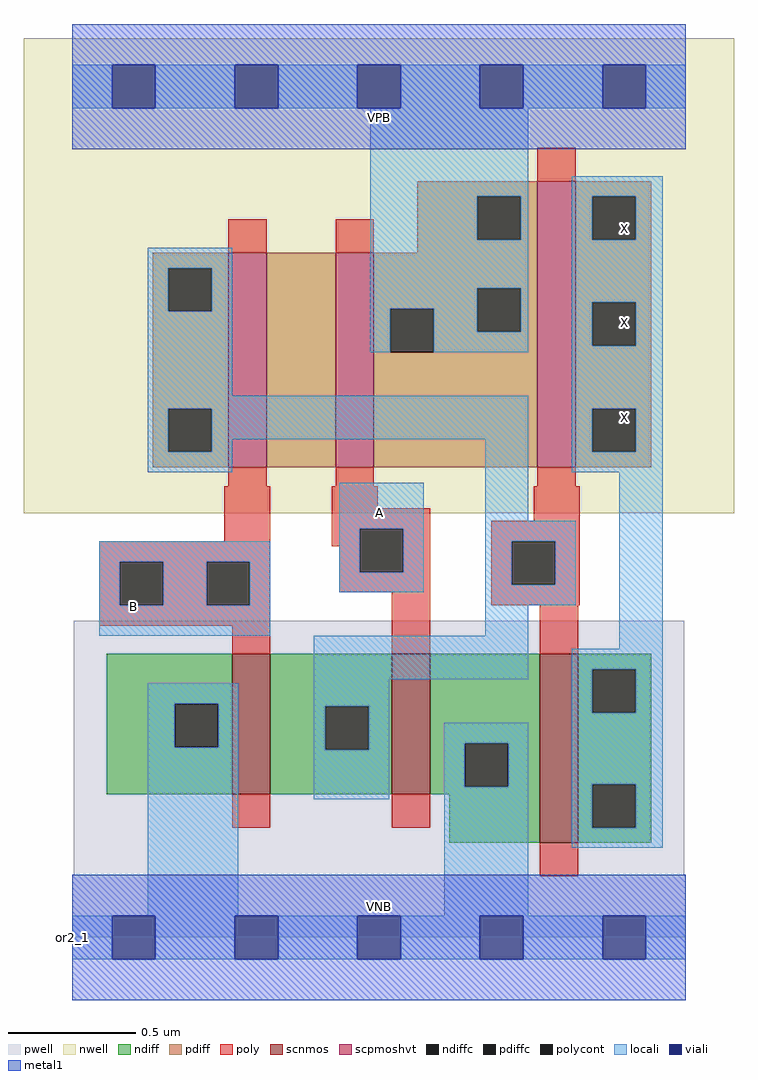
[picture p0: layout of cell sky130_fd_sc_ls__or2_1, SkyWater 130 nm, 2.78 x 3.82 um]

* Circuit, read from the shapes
.subckt sky130_fd_sc_ls__or2_1 A B VGND VNB VPB VPWR X
XM1 n1 B VGND VNB sky130_fd_pr__nfet_01v8 w=0.55 l=0.15
XM2 VGND A n1 VNB sky130_fd_pr__nfet_01v8 w=0.55 l=0.15
XM3 X n1 VGND VNB sky130_fd_pr__nfet_01v8 w=0.74 l=0.15
XM4 n2 B n1 VPB sky130_fd_pr__pfet_01v8_hvt w=0.84 l=0.15
XM5 VPWR A n2 VPB sky130_fd_pr__pfet_01v8_hvt w=0.84 l=0.15
XM6 X n1 VPWR VPB sky130_fd_pr__pfet_01v8_hvt w=1.12 l=0.15
.ends

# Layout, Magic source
magic
tech sky130A
magscale 1 2
<< nwell >>
rect -38 332 518 704
<< pwell >>
rect 1 49 479 248
rect 0 0 480 49
<< scnmos >>
rect 125 112 155 222
rect 250 112 280 222
rect 366 74 396 222
<< scpmoshvt >>
rect 122 368 152 536
rect 206 368 236 536
rect 364 368 394 592
<< ndiff >>
rect 27 183 125 222
rect 27 149 80 183
rect 114 149 125 183
rect 27 112 125 149
rect 155 181 250 222
rect 155 147 198 181
rect 232 147 250 181
rect 155 112 250 147
rect 280 152 366 222
rect 280 118 307 152
rect 341 118 366 152
rect 280 112 366 118
rect 295 74 366 112
rect 396 210 453 222
rect 396 176 407 210
rect 441 176 453 210
rect 396 120 453 176
rect 396 86 407 120
rect 441 86 453 120
rect 396 74 453 86
<< pdiff >>
rect 270 580 364 592
rect 270 546 317 580
rect 351 546 364 580
rect 270 536 364 546
rect 63 524 122 536
rect 63 490 75 524
rect 109 490 122 524
rect 63 414 122 490
rect 63 380 75 414
rect 109 380 122 414
rect 63 368 122 380
rect 152 368 206 536
rect 236 508 364 536
rect 236 492 317 508
rect 236 458 249 492
rect 283 474 317 492
rect 351 474 364 508
rect 283 458 364 474
rect 236 368 364 458
rect 394 580 453 592
rect 394 546 407 580
rect 441 546 453 580
rect 394 497 453 546
rect 394 463 407 497
rect 441 463 453 497
rect 394 414 453 463
rect 394 380 407 414
rect 441 380 453 414
rect 394 368 453 380
<< ndiffc >>
rect 80 149 114 183
rect 198 147 232 181
rect 307 118 341 152
rect 407 176 441 210
rect 407 86 441 120
<< pdiffc >>
rect 317 546 351 580
rect 75 490 109 524
rect 75 380 109 414
rect 249 458 283 492
rect 317 474 351 508
rect 407 546 441 580
rect 407 463 441 497
rect 407 380 441 414
<< poly >>
rect 364 592 394 618
rect 122 536 152 562
rect 206 536 236 562
rect 122 353 152 368
rect 206 353 236 368
rect 364 353 394 368
rect 119 310 155 353
rect 21 294 155 310
rect 203 336 239 353
rect 203 320 280 336
rect 361 326 397 353
rect 203 306 225 320
rect 21 260 37 294
rect 71 260 105 294
rect 139 260 155 294
rect 209 286 225 306
rect 259 286 280 320
rect 209 270 280 286
rect 21 244 155 260
rect 125 222 155 244
rect 250 222 280 270
rect 328 310 397 326
rect 328 276 344 310
rect 378 276 397 310
rect 328 260 397 276
rect 366 222 396 260
rect 125 86 155 112
rect 250 86 280 112
rect 366 48 396 74
<< polycont >>
rect 37 260 71 294
rect 105 260 139 294
rect 225 286 259 320
rect 344 276 378 310
<< locali >>
rect 0 649 31 683
rect 65 649 127 683
rect 161 649 223 683
rect 257 649 319 683
rect 353 649 415 683
rect 449 649 480 683
rect 233 580 357 649
rect 233 546 317 580
rect 351 546 357 580
rect 59 524 125 540
rect 59 490 75 524
rect 109 490 125 524
rect 59 424 125 490
rect 233 508 357 546
rect 233 492 317 508
rect 233 458 249 492
rect 283 474 317 492
rect 351 474 357 508
rect 283 458 357 474
rect 391 580 462 596
rect 391 546 407 580
rect 441 546 462 580
rect 391 497 462 546
rect 391 463 407 497
rect 441 463 462 497
rect 59 414 357 424
rect 59 380 75 414
rect 109 390 357 414
rect 109 380 125 390
rect 59 364 125 380
rect 209 320 275 356
rect 21 294 155 310
rect 21 260 37 294
rect 71 260 105 294
rect 139 260 155 294
rect 209 286 225 320
rect 259 286 275 320
rect 209 270 275 286
rect 323 326 357 390
rect 391 414 462 463
rect 391 380 407 414
rect 441 380 462 414
rect 391 364 462 380
rect 323 310 394 326
rect 323 276 344 310
rect 378 276 394 310
rect 21 236 155 260
rect 323 260 394 276
rect 323 236 357 260
rect 189 202 357 236
rect 428 226 462 364
rect 391 210 462 226
rect 59 183 130 199
rect 59 149 80 183
rect 114 149 130 183
rect 59 17 130 149
rect 189 181 248 202
rect 189 147 198 181
rect 232 147 248 181
rect 391 176 407 210
rect 441 176 462 210
rect 189 108 248 147
rect 291 152 357 168
rect 291 118 307 152
rect 341 118 357 152
rect 291 17 357 118
rect 391 120 462 176
rect 391 86 407 120
rect 441 86 462 120
rect 391 70 462 86
rect 0 -17 31 17
rect 65 -17 127 17
rect 161 -17 223 17
rect 257 -17 319 17
rect 353 -17 415 17
rect 449 -17 480 17
<< viali >>
rect 31 649 65 683
rect 127 649 161 683
rect 223 649 257 683
rect 319 649 353 683
rect 415 649 449 683
rect 31 -17 65 17
rect 127 -17 161 17
rect 223 -17 257 17
rect 319 -17 353 17
rect 415 -17 449 17
<< metal1 >>
rect 0 683 480 715
rect 0 649 31 683
rect 65 649 127 683
rect 161 649 223 683
rect 257 649 319 683
rect 353 649 415 683
rect 449 649 480 683
rect 0 617 480 649
rect 0 17 480 49
rect 0 -17 31 17
rect 65 -17 127 17
rect 161 -17 223 17
rect 257 -17 319 17
rect 353 -17 415 17
rect 449 -17 480 17
rect 0 -49 480 -17
<< labels >>
rlabel comment s 0 0 0 0 4 or2_1
flabel pwell s 0 0 480 49 0 FreeSans 200 0 0 0 VNB
port 4 nsew ground bidirectional
flabel nwell s 0 617 480 666 0 FreeSans 200 0 0 0 VPB
port 5 nsew power bidirectional
flabel metal1 s 0 617 480 666 0 FreeSans 340 0 0 0 VPWR
port 6 nsew power bidirectional abutment
flabel metal1 s 0 0 480 49 0 FreeSans 340 0 0 0 VGND
port 3 nsew ground bidirectional abutment
flabel locali s 31 242 65 276 0 FreeSans 340 0 0 0 B
port 2 nsew signal input
flabel locali s 223 316 257 350 0 FreeSans 340 0 0 0 A
port 1 nsew signal input
flabel locali s 415 390 449 424 0 FreeSans 340 0 0 0 X
port 7 nsew signal output
flabel locali s 415 464 449 498 0 FreeSans 340 0 0 0 X
port 7 nsew signal output
flabel locali s 415 538 449 572 0 FreeSans 340 0 0 0 X
port 7 nsew signal output
<< properties >>
string LEFsite unit
string LEFclass CORE
string FIXED_BBOX 0 0 480 666
string GDS_FILE $PDKPATH/libs.ref/sky130_fd_sc_ls/gds/sky130_fd_sc_ls.gds
string LEFsymmetry X Y
string GDS_END 4064044
string GDS_START 4059274
<< end >>
